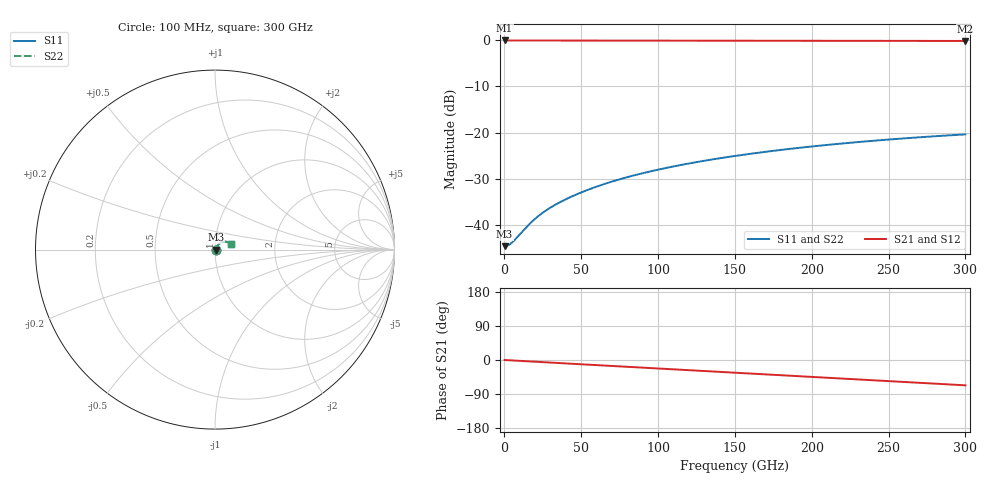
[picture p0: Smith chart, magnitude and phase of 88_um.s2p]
! Created with skrf (http://scikit-rf.org).
# Hz S RI R 50.0
!freq ReS11 ImS11 ReS21 ImS21 ReS12 ImS12 ReS22 ImS22
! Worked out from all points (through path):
!   3000 points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, 100 MHz to 300 GHz, reference 50 ohm
!   highest |S21| = -0.05 dB at 100 MHz (marker M1); lowest = -0.2 dB at 300 GHz (marker M2)
!   group delay of S21, straight-line fit = 617 fs
!   lowest |S11| = -44.6 dB at 100 MHz (marker M3), VSWR 1.01, Z = 50.6 + j0.00482 ohm
!   |S11| at or under -10 dB: start of sweep to end of sweep
!   |S22| runs from -44.5 to -20.5 dB; largest |S21 - S12| = 0.00073
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1e8  0.00587 4.77e-05  0.9942 -0.000401  0.9941 -0.0004  0.00593 4.63e-05
2.6e9  0.0059 0.00124  0.9941 -0.0104  0.9941 -0.0104  0.00597 0.0012
5.3e9  0.00602 0.00251  0.9939 -0.0213  0.9938 -0.0212  0.00607 0.00244
1.71e10  0.00721 0.00767  0.9909 -0.068  0.9909 -0.0679  0.00718 0.00752
2.14e10  0.00782 0.00934  0.9892 -0.0847  0.9893 -0.0847  0.00777 0.00918
2.59e10  0.0085 0.011  0.9872 -0.1021  0.9872 -0.1021  0.00844 0.0108
3.1e10  0.00928 0.0127  0.9846 -0.1217  0.9846 -0.1217  0.00923 0.0126
3.66e10  0.0101 0.0146  0.9814 -0.1431  0.9814 -0.1431  0.0101 0.0144
4.29e10  0.0111 0.0166  0.9773 -0.167  0.9773 -0.1671  0.0111 0.0163
5.01e10  0.0123 0.0188  0.9719 -0.1943  0.9719 -0.1943  0.0123 0.0185
6.11e10  0.0143 0.0221  0.9622 -0.2357  0.9622 -0.2356  0.0143 0.0217
7.28e10  0.0167 0.0254  0.9499 -0.279  0.95 -0.279  0.0167 0.0249
8.58e10  0.0197 0.0287  0.9341 -0.3263  0.9341 -0.3264  0.0196 0.0283
1.001e11  0.0232 0.0321  0.9141 -0.3775  0.9141 -0.3775  0.0231 0.0316
1.238e11  0.0297 0.037  0.8747 -0.4594  0.8748 -0.4595  0.0296 0.0363
1.501e11  0.0378 0.041  0.8227 -0.5455  0.8227 -0.5456  0.0377 0.0402
1.742e11  0.0458 0.0434  0.7675 -0.6193  0.7676 -0.6195  0.0457 0.0424
2.001e11  0.0549 0.0445  0.701 -0.6924  0.7011 -0.6926  0.0547 0.0434
2.25e11  0.0638 0.044  0.6304 -0.756  0.6306 -0.7563  0.0635 0.0428
2.501e11  0.0727 0.042  0.5537 -0.813  0.5537 -0.8134  0.0724 0.0408
2.751e11  0.0813 0.0386  0.472 -0.862  0.4722 -0.8623  0.081 0.0372
3e11  0.0893 0.0337  0.3868 -0.9026  0.3866 -0.9033  0.089 0.0323
